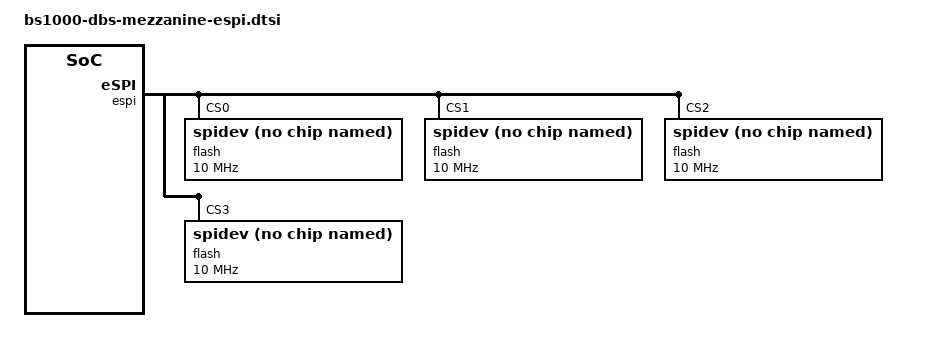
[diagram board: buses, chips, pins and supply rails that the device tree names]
// SPDX-License-Identifier: GPL-2.0
/*
 * Device tree include file for DBS socket X6.16 mezzanine board
 * Copyright (C) 2023 Baikal Electronics, JSC
 */

&espi {
	num-cs = <4>;
	status = "okay";

	flash@0 {
		compatible = "rohm,dh2228fv";
		reg = <0>;
		#address-cells = <1>;
		#size-cells = <1>;
		spi-max-frequency = <10000000>;
		spi-tx-bus-width = <1>;
		spi-rx-bus-width = <1>;
		status = "okay";
	};

	flash@1 {
		compatible = "rohm,dh2228fv";
		reg = <1>;
		#address-cells = <1>;
		#size-cells = <1>;
		spi-max-frequency = <10000000>;
		spi-tx-bus-width = <1>;
		spi-rx-bus-width = <1>;
		status = "okay";
	};

	flash@2 {
		compatible = "rohm,dh2228fv";
		reg = <2>;
		#address-cells = <1>;
		#size-cells = <1>;
		spi-max-frequency = <10000000>;
		spi-tx-bus-width = <1>;
		spi-rx-bus-width = <1>;
		status = "okay";
	};

	flash@3 {
		compatible = "rohm,dh2228fv";
		reg = <3>;
		#address-cells = <1>;
		#size-cells = <1>;
		spi-max-frequency = <10000000>;
		spi-tx-bus-width = <1>;
		spi-rx-bus-width = <1>;
		status = "okay";
	};
};
